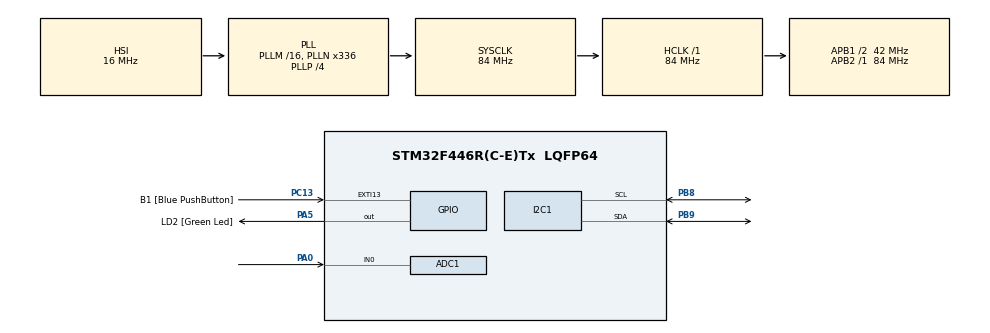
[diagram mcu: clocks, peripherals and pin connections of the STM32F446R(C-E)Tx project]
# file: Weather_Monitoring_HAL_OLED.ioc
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ADC1.Channel-1\#ChannelRegularConversion=ADC_CHANNEL_0
ADC1.NbrOfConversionFlag=1
ADC1.Rank-1\#ChannelRegularConversion=1
ADC1.SamplingTime-1\#ChannelRegularConversion=ADC_SAMPLETIME_144CYCLES
ADC1.master=1
I2C1.I2C_Mode=I2C_Fast
Mcu.Family=STM32F4
Mcu.Name=STM32F446R(C-E)Tx
Mcu.Package=LQFP64
NVIC.PriorityGroup=NVIC_PRIORITYGROUP_0
PA0-WKUP.Signal=ADCx_IN0
PA13.GPIO_Label=TMS
PA13.Signal=SYS_JTMS-SWDIO
PA14.GPIO_Label=TCK
PA14.Signal=SYS_JTCK-SWCLK
PA2.GPIO_Label=USART_TX
PA2.Signal=USART2_TX
PA3.GPIO_Label=USART_RX
PA3.Signal=USART2_RX
PA5.GPIO_Label=LD2 [Green Led]
PA5.Signal=GPIO_Output
PB3.GPIO_Label=SWO
PB3.Signal=SYS_JTDO-SWO
PB8.GPIO_Pu=GPIO_PULLUP
PB8.Mode=I2C
PB8.Signal=I2C1_SCL
PB9.GPIO_Pu=GPIO_PULLUP
PB9.Mode=I2C
PB9.Signal=I2C1_SDA
PC13.GPIO_Label=B1 [Blue PushButton]
PC13.GPIO_ModeDefaultEXTI=GPIO_MODE_IT_FALLING
PC13.Signal=GPXTI13
PC14-OSC32_IN.Mode=LSE-External-Oscillator
PC14-OSC32_IN.Signal=RCC_OSC32_IN
PC15-OSC32_OUT.Mode=LSE-External-Oscillator
PC15-OSC32_OUT.Signal=RCC_OSC32_OUT
PH0-OSC_IN.Mode=HSE-External-Oscillator
PH0-OSC_IN.Signal=RCC_OSC_IN
PH1-OSC_OUT.Mode=HSE-External-Oscillator
PH1-OSC_OUT.Signal=RCC_OSC_OUT
ProjectManager.HeapSize=0x200
ProjectManager.StackSize=0x400
ProjectManager.TargetToolchain=STM32CubeIDE
RCC.AHBFreq_Value=84000000
RCC.APB1CLKDivider=RCC_HCLK_DIV2
RCC.APB1Freq_Value=42000000
RCC.APB1TimFreq_Value=84000000
RCC.APB2Freq_Value=84000000
RCC.APB2TimFreq_Value=84000000
RCC.CortexFreq_Value=84000000
RCC.FLatency-AdvancedSettings=FLASH_LATENCY_2
RCC.HCLKFreq_Value=84000000
RCC.HSE_VALUE=8000000
RCC.HSI_VALUE=16000000
RCC.PLLN=336
RCC.PLLP=RCC_PLLP_DIV4
RCC.SYSCLKFreq_VALUE=84000000
RCC.SYSCLKSource=RCC_SYSCLKSOURCE_PLLCLK
RCC.USBFreq_Value=168000000
RCC.VCOOutputFreq_Value=336000000
SH.ADCx_IN0.0=ADC1_IN0,IN0
VP_RTC_VS_RTC_Activate.Mode=RTC_Enabled
VP_RTC_VS_RTC_Calendar.Mode=RTC_Calendar
board=NUCLEO-F446RE

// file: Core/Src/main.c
/* USER CODE BEGIN Header */
/**
  ******************************************************************************
  * @file           : main.c
  * @brief          : Weather Monitoring System
  *                   BME280 + SSD1306 OLED + RTC + MQ-9
  ******************************************************************************
  */
/* USER CODE END Header */

#include "main.h"

/* USER CODE BEGIN Includes */
#include "fonts.h"
#include "ssd1306.h"
#include "bme280.h"
#include <stdio.h>
#include <string.h>
#include <math.h> 	// powf() for MQ-9 formula
/* USER CODE END Includes */

/* USER CODE BEGIN PD */

/* MQ-9 sensor constants */
#define MQ9_RL_VALUE       10.0f    /* Load resistor on module (kOhm) */
#define MQ9_RO_CLEAN_AIR    9.8f    /* Sensor resistance in clean air (kOhm) */
#define MQ9_CO_A          599.65f   /* CO curve coefficient a */
#define MQ9_CO_B           -2.1102f /* CO curve exponent b */

/* ADC reference */
#define ADC_VREF            3.3f
#define ADC_RESOLUTION   4095.0f

/* USER CODE END PD */

ADC_HandleTypeDef hadc1;
I2C_HandleTypeDef hi2c1;
RTC_HandleTypeDef hrtc;

/* USER CODE BEGIN PV */
struct bme280_dev  dev;
struct bme280_data comp_data;
int8_t rslt;

char hum_string[32];
char temp_string[32];
char press_string[32];
char mq9_string[32];
char datetime_string[32];
char loc_string[] = "Ahmedabad";
/* USER CODE END PV */

void SystemClock_Config(void);
static void MX_GPIO_Init(void);
static void MX_I2C1_Init(void);
static void MX_RTC_Init(void);
static void MX_ADC1_Init(void);

/* USER CODE BEGIN PFP */
int8_t user_i2c_read(uint8_t id, uint8_t reg_addr,
                     uint8_t *data, uint16_t len);
int8_t user_i2c_write(uint8_t id, uint8_t reg_addr,
                      uint8_t *data, uint16_t len);
void   user_delay_ms(uint32_t period);
float  MQ9_ReadRsRoRatio(void);
float  MQ9_GetCO_PPM(float ratio);
/* USER CODE END PFP */

/* USER CODE BEGIN 0 */

/* BME280 I2C read callback */
int8_t user_i2c_read(uint8_t id, uint8_t reg_addr,
                     uint8_t *data, uint16_t len)
{
    HAL_StatusTypeDef s = HAL_I2C_Mem_Read(&hi2c1,
                              (uint16_t)(id << 1),
                              reg_addr,
                              I2C_MEMADD_SIZE_8BIT,
                              data, len, HAL_MAX_DELAY);
    return (s == HAL_OK) ? BME280_OK : BME280_E_COMM_FAIL;
}

/* BME280 I2C write callback */
int8_t user_i2c_write(uint8_t id, uint8_t reg_addr,
                      uint8_t *data, uint16_t len)
{
    HAL_StatusTypeDef s = HAL_I2C_Mem_Write(&hi2c1,
                              (uint16_t)(id << 1),
                              reg_addr,
                              I2C_MEMADD_SIZE_8BIT,
                              data, len, HAL_MAX_DELAY);
    return (s == HAL_OK) ? BME280_OK : BME280_E_COMM_FAIL;
}

/* BME280 delay callback */
void user_delay_ms(uint32_t period)
{
    HAL_Delay(period);
}

/* Read MQ-9 ADC and return Rs/Ro ratio.
 * Wiring: MQ-9 AOUT -> 10k -> PA0 -> 10k -> GND
 * PA0 sees max 2.5V (voltage divider halves the 5V sensor output)
 * Formula: Rs = RL x (Vcc - Vsensor) / Vsensor, then ratio = Rs / Ro */
float MQ9_ReadRsRoRatio(void)
{
    uint32_t adc_sum = 0;
    int i;

    /* Take 8 samples and average for stability */
    for (i = 0; i < 32; i++)
    {
        HAL_ADC_Start(&hadc1);
        HAL_ADC_PollForConversion(&hadc1, HAL_MAX_DELAY);
        adc_sum += HAL_ADC_GetValue(&hadc1);
        HAL_ADC_Stop(&hadc1);
        HAL_Delay(1);
    }

    float adc_avg  = (float)(adc_sum / 50);
    float v_pa0    = (adc_avg / ADC_RESOLUTION) * ADC_VREF;
    float v_sensor = v_pa0 * 2.0f; /* recover true sensor voltage */

    if (v_sensor < 0.001f) v_sensor = 0.001f;

    float rs = MQ9_RL_VALUE * (5.0f - v_sensor) / v_sensor;
    if (rs < 0.001f) rs = 0.001f;

    return rs / MQ9_RO_CLEAN_AIR;
}

/* Convert Rs/Ro ratio to CO concentration in ppm.
 * Uses power-law fit from Hanwei MQ-9 CO sensitivity curve:
 * ppm = 599.65 x (Rs/Ro)^(-2.1102)
 * Valid range: approximately 10 to 1000 ppm */
float MQ9_GetCO_PPM(float ratio)
{
    float ppm;
    if (ratio <= 0.0f) return 0.0f;
    ppm = MQ9_CO_A * powf(ratio, MQ9_CO_B);
    if (ppm < 0.0f)    ppm = 0.0f;
    if (ppm > 9999.0f) ppm = 9999.0f;
    return ppm;
}

/* USER CODE END 0 */

int main(void)
{

  /* MCU Configuration -------------------------------------------------------*/
  HAL_Init();

  SystemClock_Config();

  MX_GPIO_Init();
  MX_I2C1_Init();
  MX_RTC_Init();
  MX_ADC1_Init();

  /* USER CODE BEGIN 2 */

  /* Initialize OLED display */
  SSD1306_Init();
  SSD1306_Fill(0);
  SSD1306_UpdateScreen();
  HAL_Delay(500);

  /* Initialize BME280 */
  dev.dev_id   = BME280_I2C_ADDR_PRIM;
  dev.intf     = BME280_I2C_INTF;
  dev.read     = user_i2c_read;
  dev.write    = user_i2c_write;
  dev.delay_ms = user_delay_ms;

  rslt = bme280_init(&dev);
  if (rslt != BME280_OK) { while(1){} }

  dev.settings.osr_h  = BME280_OVERSAMPLING_1X;
  dev.settings.osr_p  = BME280_OVERSAMPLING_16X;
  dev.settings.osr_t  = BME280_OVERSAMPLING_2X;
  dev.settings.filter = BME280_FILTER_COEFF_16;

  rslt = bme280_set_sensor_settings(
             BME280_OSR_PRESS_SEL | BME280_OSR_TEMP_SEL |
             BME280_OSR_HUM_SEL   | BME280_FILTER_SEL, &dev);
  if (rslt != BME280_OK) { while(1){} }

  rslt = bme280_set_sensor_mode(BME280_SLEEP_MODE, &dev);
  if (rslt != BME280_OK) { while(1){} }

  RTC_TimeTypeDef sTime;
  RTC_DateTypeDef sDate;

  /* USER CODE END 2 */

  /* Infinite loop */
  while (1)
  {

  /* USER CODE BEGIN 3 */

    /* Read RTC time and date
     * Note: GetDate must always be called after GetTime
     * to unlock the shadow registers */
    HAL_RTC_GetTime(&hrtc, &sTime, RTC_FORMAT_BIN);
    HAL_RTC_GetDate(&hrtc, &sDate, RTC_FORMAT_BIN);

    snprintf(datetime_string, sizeof(datetime_string),
             "%02d:%02d:%02d %02d/%02d/%02d",
             sTime.Hours,  sTime.Minutes, sTime.Seconds,
             sDate.Date,   sDate.Month,   sDate.Year);

    /* Read MQ-9 and calculate CO in ppm */
    float mq9_ratio = MQ9_ReadRsRoRatio();
    float co_ppm    = MQ9_GetCO_PPM(mq9_ratio);

    snprintf(mq9_string, sizeof(mq9_string), "CO:   %.0f ppm", co_ppm);

    /* Trigger BME280 in forced mode and read all sensor data */
    rslt = bme280_set_sensor_mode(BME280_FORCED_MODE, &dev);

    if (rslt == BME280_OK)
    {
      HAL_Delay(50);

      rslt = bme280_get_sensor_data(BME280_ALL, &comp_data, &dev);

      if (rslt == BME280_OK)
      {
        float temperature = (float)comp_data.temperature;
        float humidity    = (float)comp_data.humidity;
        float pressure    = (float)comp_data.pressure;

        snprintf(hum_string,   sizeof(hum_string),
                 "Hum:  %.1f %%",  humidity);
        snprintf(temp_string,  sizeof(temp_string),
                 "Temp: %.1f C",   temperature);
        snprintf(press_string, sizeof(press_string),
                 "Pres: %.0f Pa",  pressure);

        /* Update OLED -- 128x64, Font_6x8, 9px row pitch
         * Y= 0  Weather Monitor
         * Y= 9  HH:MM:SS DD/MM/YY
         * Y=18  Hum:  xx.x %
         * Y=27  Temp: xx.x C
         * Y=36  Pres: xxxxxx Pa
         * Y=45  CO:   xxx ppm
         * Y=54  Ahmedabad */
        SSD1306_Fill(0);

        SSD1306_GotoXY(2,  0);
        SSD1306_Puts("Weather Monitoring", &Font_6x8, 1);
        SSD1306_GotoXY(2,  9);
        SSD1306_Puts(datetime_string,   &Font_6x8, 1);
        SSD1306_GotoXY(2, 18);
       // SSD1306_Puts(hum_string,        &Font_6x8, 1);
        SSD1306_GotoXY(2, 27);
        SSD1306_Puts(temp_string,       &Font_6x8, 1);
        SSD1306_GotoXY(2, 36);
        SSD1306_Puts(press_string,      &Font_6x8, 1);
        SSD1306_GotoXY(2, 45);
        SSD1306_Puts(mq9_string,        &Font_6x8, 1);
        SSD1306_GotoXY(2, 54);
        SSD1306_Puts(loc_string,        &Font_6x8, 1);

        SSD1306_UpdateScreen();
      }
    }

    HAL_Delay(1000);

  /* USER CODE END 3 */
  }
}

void SystemClock_Config(void)
{
  RCC_OscInitTypeDef       RCC_OscInitStruct = {0};
  RCC_ClkInitTypeDef       RCC_ClkInitStruct = {0};
  RCC_PeriphCLKInitTypeDef PeriphClkInit     = {0};

  __HAL_RCC_PWR_CLK_ENABLE();
  __HAL_PWR_VOLTAGESCALING_CONFIG(PWR_REGULATOR_VOLTAGE_SCALE3);

  /* Use HSI for system clock and LSI for RTC.
   * Nucleo F446RE has no LSE crystal fitted by default. */
  RCC_OscInitStruct.OscillatorType      = RCC_OSCILLATORTYPE_HSI |
                                          RCC_OSCILLATORTYPE_LSI;
  RCC_OscInitStruct.HSIState            = RCC_HSI_ON;
  RCC_OscInitStruct.HSICalibrationValue = RCC_HSICALIBRATION_DEFAULT;
  RCC_OscInitStruct.LSIState            = RCC_LSI_ON;
  RCC_OscInitStruct.PLL.PLLState        = RCC_PLL_ON;
  RCC_OscInitStruct.PLL.PLLSource       = RCC_PLLSOURCE_HSI;
  RCC_OscInitStruct.PLL.PLLM            = 16;
  RCC_OscInitStruct.PLL.PLLN            = 336;
  RCC_OscInitStruct.PLL.PLLP            = RCC_PLLP_DIV4;
  RCC_OscInitStruct.PLL.PLLQ            = 2;
  if (HAL_RCC_OscConfig(&RCC_OscInitStruct) != HAL_OK) { Error_Handler(); }

  PeriphClkInit.PeriphClockSelection = RCC_PERIPHCLK_RTC;
  PeriphClkInit.RTCClockSelection    = RCC_RTCCLKSOURCE_LSI;
  if (HAL_RCCEx_PeriphCLKConfig(&PeriphClkInit) != HAL_OK) { Error_Handler(); }

  __HAL_RCC_RTC_ENABLE();

  RCC_ClkInitStruct.ClockType      = RCC_CLOCKTYPE_HCLK   |
                                     RCC_CLOCKTYPE_SYSCLK |
                                     RCC_CLOCKTYPE_PCLK1  |
                                     RCC_CLOCKTYPE_PCLK2;
  RCC_ClkInitStruct.SYSCLKSource   = RCC_SYSCLKSOURCE_PLLCLK;
  RCC_ClkInitStruct.AHBCLKDivider  = RCC_SYSCLK_DIV1;
  RCC_ClkInitStruct.APB1CLKDivider = RCC_HCLK_DIV2;
  RCC_ClkInitStruct.APB2CLKDivider = RCC_HCLK_DIV1;
  if (HAL_RCC_ClockConfig(&RCC_ClkInitStruct, FLASH_LATENCY_2) != HAL_OK)
  {
    Error_Handler();
  }
}

static void MX_ADC1_Init(void)
{

  ADC_ChannelConfTypeDef sConfig = {0};

  hadc1.Instance                   = ADC1;
  hadc1.Init.ClockPrescaler        = ADC_CLOCK_SYNC_PCLK_DIV4;
  hadc1.Init.Resolution            = ADC_RESOLUTION_12B;
  hadc1.Init.ScanConvMode          = DISABLE;
  hadc1.Init.ContinuousConvMode    = DISABLE;
  hadc1.Init.DiscontinuousConvMode = DISABLE;
  hadc1.Init.ExternalTrigConvEdge  = ADC_EXTERNALTRIGCONVEDGE_NONE;
  hadc1.Init.ExternalTrigConv      = ADC_SOFTWARE_START;
  hadc1.Init.DataAlign             = ADC_DATAALIGN_RIGHT;
  hadc1.Init.NbrOfConversion       = 1;
  hadc1.Init.DMAContinuousRequests = DISABLE;
  hadc1.Init.EOCSelection          = ADC_EOC_SINGLE_CONV;
  if (HAL_ADC_Init(&hadc1) != HAL_OK) { Error_Handler(); }

  /* Configure ADC channel 0 on PA0 for MQ-9 analog output */
  sConfig.Channel      = ADC_CHANNEL_0;
  sConfig.Rank         = 1;
  sConfig.SamplingTime = ADC_SAMPLETIME_144CYCLES;
  if (HAL_ADC_ConfigChannel(&hadc1, &sConfig) != HAL_OK) { Error_Handler(); }

}

static void MX_I2C1_Init(void)
{

  hi2c1.Instance             = I2C1;
  hi2c1.Init.ClockSpeed      = 400000;
  hi2c1.Init.DutyCycle       = I2C_DUTYCYCLE_2;
  hi2c1.Init.OwnAddress1     = 0;
  hi2c1.Init.AddressingMode  = I2C_ADDRESSINGMODE_7BIT;
  hi2c1.Init.DualAddressMode = I2C_DUALADDRESS_DISABLE;
  hi2c1.Init.OwnAddress2     = 0;
  hi2c1.Init.GeneralCallMode = I2C_GENERALCALL_DISABLE;
  hi2c1.Init.NoStretchMode   = I2C_NOSTRETCH_DISABLE;
  if (HAL_I2C_Init(&hi2c1) != HAL_OK) { Error_Handler(); }

}

static void MX_RTC_Init(void)
{

  RTC_TimeTypeDef sTime = {0};
  RTC_DateTypeDef sDate = {0};

  hrtc.Instance            = RTC;
  hrtc.Init.HourFormat     = RTC_HOURFORMAT_24;
  hrtc.Init.AsynchPrediv   = 127;
  hrtc.Init.SynchPrediv    = 255;
  hrtc.Init.OutPut         = RTC_OUTPUT_DISABLE;
  hrtc.Init.OutPutPolarity = RTC_OUTPUT_POLARITY_HIGH;
  hrtc.Init.OutPutType     = RTC_OUTPUT_TYPE_OPENDRAIN;
  if (HAL_RTC_Init(&hrtc) != HAL_OK) { Error_Handler(); }

  /* Set initial time and date using BIN format (plain decimal values) */
  sTime.Hours          = 10;
  sTime.Minutes        = 30;
  sTime.Seconds        = 0;
  sTime.DayLightSaving = RTC_DAYLIGHTSAVING_NONE;
  sTime.StoreOperation = RTC_STOREOPERATION_RESET;
  if (HAL_RTC_SetTime(&hrtc, &sTime, RTC_FORMAT_BIN) != HAL_OK)
  {
    Error_Handler();
  }

  sDate.WeekDay = RTC_WEEKDAY_THURSDAY;
  sDate.Month   = RTC_MONTH_MARCH;
  sDate.Date    = 13;
  sDate.Year    = 26; /* 2026 */
  if (HAL_RTC_SetDate(&hrtc, &sDate, RTC_FORMAT_BIN) != HAL_OK)
  {
    Error_Handler();
  }

}

static void MX_GPIO_Init(void)
{
  GPIO_InitTypeDef GPIO_InitStruct = {0};

  __HAL_RCC_GPIOC_CLK_ENABLE();
  __HAL_RCC_GPIOH_CLK_ENABLE();
  __HAL_RCC_GPIOA_CLK_ENABLE();
  __HAL_RCC_GPIOB_CLK_ENABLE();

  HAL_GPIO_WritePin(LD2_GPIO_Port, LD2_Pin, GPIO_PIN_RESET);

  /* B1 user button */
  GPIO_InitStruct.Pin  = B1_Pin;
  GPIO_InitStruct.Mode = GPIO_MODE_IT_FALLING;
  GPIO_InitStruct.Pull = GPIO_NOPULL;
  HAL_GPIO_Init(B1_GPIO_Port, &GPIO_InitStruct);

  /* USART2 TX/RX pins */
  GPIO_InitStruct.Pin       = USART_TX_Pin | USART_RX_Pin;
  GPIO_InitStruct.Mode      = GPIO_MODE_AF_PP;
  GPIO_InitStruct.Pull      = GPIO_NOPULL;
  GPIO_InitStruct.Speed     = GPIO_SPEED_FREQ_VERY_HIGH;
  GPIO_InitStruct.Alternate = GPIO_AF7_USART2;
  HAL_GPIO_Init(GPIOA, &GPIO_InitStruct);

  /* LD2 green LED */
  GPIO_InitStruct.Pin   = LD2_Pin;
  GPIO_InitStruct.Mode  = GPIO_MODE_OUTPUT_PP;
  GPIO_InitStruct.Pull  = GPIO_NOPULL;
  GPIO_InitStruct.Speed = GPIO_SPEED_FREQ_LOW;
  HAL_GPIO_Init(LD2_GPIO_Port, &GPIO_InitStruct);

}

void Error_Handler(void)
{
  __disable_irq();
  while (1) {}
}

#ifdef USE_FULL_ASSERT
/**
  * @brief  Reports the name and line number where assert_param error occurred.
  * @param  file: pointer to the source file name
  * @param  line: assert_param error line source number
  * @retval None
  */
void assert_failed(uint8_t *file, uint32_t line)
{
  /* USER CODE BEGIN 6 */
  (void)file;
  (void)line;
  /* USER CODE END 6 */
}
#endif /* USE_FULL_ASSERT */
